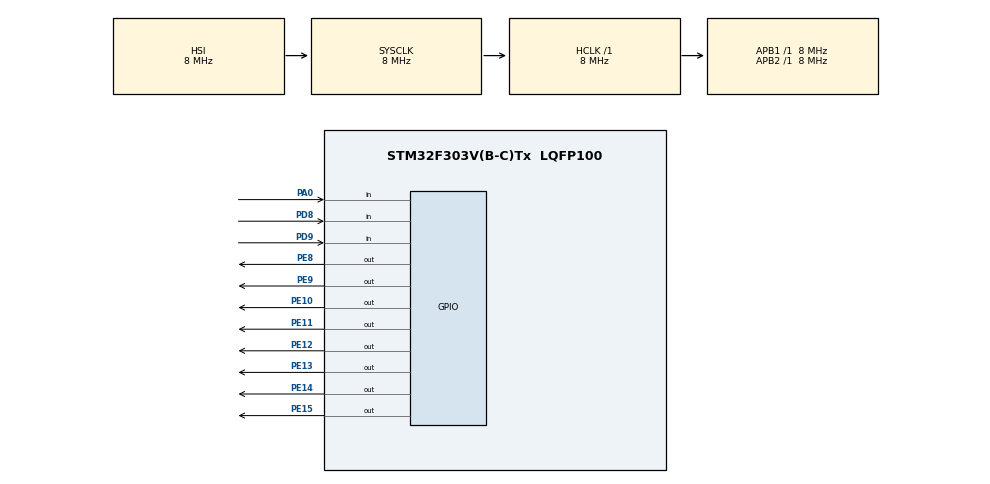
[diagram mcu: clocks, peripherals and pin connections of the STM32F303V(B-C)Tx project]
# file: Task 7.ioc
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Mcu.Family=STM32F3
Mcu.Name=STM32F303V(B-C)Tx
Mcu.Package=LQFP100
NVIC.PriorityGroup=NVIC_PRIORITYGROUP_4
PA0.Signal=GPIO_Input
PD8.GPIO_PuPd=GPIO_PULLDOWN
PD8.Signal=GPIO_Input
PD9.GPIO_PuPd=GPIO_PULLDOWN
PD9.Signal=GPIO_Input
PE10.Signal=GPIO_Output
PE11.Signal=GPIO_Output
PE12.Signal=GPIO_Output
PE13.Signal=GPIO_Output
PE14.Signal=GPIO_Output
PE15.Signal=GPIO_Output
PE8.Signal=GPIO_Output
PE9.Signal=GPIO_Output
ProjectManager.HeapSize=0x200
ProjectManager.StackSize=0x400
ProjectManager.TargetToolchain=MDK-ARM V5.27
RCC.AHBFreq_Value=8000000
RCC.APB1Freq_Value=8000000
RCC.APB2Freq_Value=8000000
RCC.CortexFreq_Value=8000000
RCC.HSE_VALUE=8000000
RCC.HSI_VALUE=8000000
RCC.LSE_VALUE=32768
RCC.SYSCLKFreq_VALUE=8000000
board=custom

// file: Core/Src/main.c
/* USER CODE BEGIN Header */
/**
  ******************************************************************************
  * @file           : main.c
  * @brief          : Main program body
  ******************************************************************************
  * @attention
  *
  * <h2><center>&copy; Copyright (c) 2023 STMicroelectronics.
  * All rights reserved.</center></h2>
  *
  * This software component is licensed by ST under BSD 3-Clause license,
  * the "License"; You may not use this file except in compliance with the
  * License. You may obtain a copy of the License at:
  *                        opensource.org/licenses/BSD-3-Clause
  *
  ******************************************************************************
  */
/* USER CODE END Header */
#include "main.h"

void SystemClock_Config(void);
static void MX_GPIO_Init(void);
/* USER CODE BEGIN PFP */
void circular(int);
void compass();
void speed();
void toggle(int);
void binary();

/* USER CODE END PFP */

int main(void)
{
  /* USER CODE BEGIN 1 */
	int	 i=0x0100U;
	int counter=-1;

  /* USER CODE END 1 */

  /* MCU Configuration--------------------------------------------------------*/

  /* Reset of all peripherals, Initializes the Flash interface and the Systick. */
  HAL_Init();

  /* Configure the system clock */
  SystemClock_Config();

  /* Initialize all configured peripherals */
  MX_GPIO_Init();

  /* Infinite loop */
  /* USER CODE BEGIN WHILE */
  while (1)
  {
		if(HAL_GPIO_ReadPin(GPIOD,GPIO_PIN_8)==GPIO_PIN_SET){
		circular(100);
		}

		if(HAL_GPIO_ReadPin(GPIOD,GPIO_PIN_9)==GPIO_PIN_SET){
		compass(100);
			HAL_Delay(100);
		}

		/* ONE BY ONE
		if(HAL_GPIO_ReadPin(GPIOA,GPIO_PIN_0)==GPIO_PIN_SET){

		toggle(i);
			HAL_Delay(100);
			i*=2;

		}

		if(i>0x8000U){
				i=0x0100U;

			}

		*/

		/* SPEED UP
		if(HAL_GPIO_ReadPin(GPIOA,GPIO_PIN_0)==GPIO_PIN_SET){

			i+=10;
			circular(100-i);

		}
		*/

			if(HAL_GPIO_ReadPin(GPIOA,GPIO_PIN_0)==GPIO_PIN_SET){
				counter++;
				if(counter>0){
					HAL_GPIO_TogglePin(GPIOE,GPIO_PIN_11);

					if(counter%2==0){
						HAL_GPIO_TogglePin(GPIOE,GPIO_PIN_10);
					}

					if(counter%4==0){
						HAL_GPIO_TogglePin(GPIOE,GPIO_PIN_9);

					}

					if(counter%8==0){

				HAL_GPIO_TogglePin(GPIOE,GPIO_PIN_8);

					}

				}

				HAL_Delay(400);
			}

    /* USER CODE END WHILE */

  }
}

void SystemClock_Config(void)
{
  RCC_OscInitTypeDef RCC_OscInitStruct = {0};
  RCC_ClkInitTypeDef RCC_ClkInitStruct = {0};

  /** Initializes the RCC Oscillators according to the specified parameters
  * in the RCC_OscInitTypeDef structure.
  */
  RCC_OscInitStruct.OscillatorType = RCC_OSCILLATORTYPE_HSI;
  RCC_OscInitStruct.HSIState = RCC_HSI_ON;
  RCC_OscInitStruct.HSICalibrationValue = RCC_HSICALIBRATION_DEFAULT;
  RCC_OscInitStruct.PLL.PLLState = RCC_PLL_NONE;
  if (HAL_RCC_OscConfig(&RCC_OscInitStruct) != HAL_OK)
  {
    Error_Handler();
  }
  /** Initializes the CPU, AHB and APB buses clocks
  */
  RCC_ClkInitStruct.ClockType = RCC_CLOCKTYPE_HCLK|RCC_CLOCKTYPE_SYSCLK
                              |RCC_CLOCKTYPE_PCLK1|RCC_CLOCKTYPE_PCLK2;
  RCC_ClkInitStruct.SYSCLKSource = RCC_SYSCLKSOURCE_HSI;
  RCC_ClkInitStruct.AHBCLKDivider = RCC_SYSCLK_DIV1;
  RCC_ClkInitStruct.APB1CLKDivider = RCC_HCLK_DIV1;
  RCC_ClkInitStruct.APB2CLKDivider = RCC_HCLK_DIV1;

  if (HAL_RCC_ClockConfig(&RCC_ClkInitStruct, FLASH_LATENCY_0) != HAL_OK)
  {
    Error_Handler();
  }
}

static void MX_GPIO_Init(void)
{
  GPIO_InitTypeDef GPIO_InitStruct = {0};

  /* GPIO Ports Clock Enable */
  __HAL_RCC_GPIOA_CLK_ENABLE();
  __HAL_RCC_GPIOE_CLK_ENABLE();
  __HAL_RCC_GPIOD_CLK_ENABLE();

  /*Configure GPIO pin Output Level */
  HAL_GPIO_WritePin(GPIOE, GPIO_PIN_8|GPIO_PIN_9|GPIO_PIN_10|GPIO_PIN_11
                          |GPIO_PIN_12|GPIO_PIN_13|GPIO_PIN_14|GPIO_PIN_15, GPIO_PIN_RESET);

  /*Configure GPIO pin : PA0 */
  GPIO_InitStruct.Pin = GPIO_PIN_0;
  GPIO_InitStruct.Mode = GPIO_MODE_INPUT;
  GPIO_InitStruct.Pull = GPIO_NOPULL;
  HAL_GPIO_Init(GPIOA, &GPIO_InitStruct);

  /*Configure GPIO pins : PE8 PE9 PE10 PE11
                           PE12 PE13 PE14 PE15 */
  GPIO_InitStruct.Pin = GPIO_PIN_8|GPIO_PIN_9|GPIO_PIN_10|GPIO_PIN_11
                          |GPIO_PIN_12|GPIO_PIN_13|GPIO_PIN_14|GPIO_PIN_15;
  GPIO_InitStruct.Mode = GPIO_MODE_OUTPUT_PP;
  GPIO_InitStruct.Pull = GPIO_NOPULL;
  GPIO_InitStruct.Speed = GPIO_SPEED_FREQ_LOW;
  HAL_GPIO_Init(GPIOE, &GPIO_InitStruct);

  /*Configure GPIO pins : PD8 PD9 */
  GPIO_InitStruct.Pin = GPIO_PIN_8|GPIO_PIN_9;
  GPIO_InitStruct.Mode = GPIO_MODE_INPUT;
  GPIO_InitStruct.Pull = GPIO_PULLDOWN;
  HAL_GPIO_Init(GPIOD, &GPIO_InitStruct);

}

/* USER CODE BEGIN 4 */

void circular(int a){
	int i;
	for( i=0x0100U; i<=0x8000U; i*=2){
		HAL_GPIO_TogglePin(GPIOE,i);
		HAL_Delay(a);
	}

	}

	void compass(){
	int i;
	for( i=0x0200U; i<=0x8000U; i*=4){
		HAL_GPIO_TogglePin(GPIOE,i);

	}

	}

	void toggle(int i){

		if(!(i>0x8000U)){
		HAL_GPIO_TogglePin(GPIOE,i);
			HAL_Delay(100);
		}
	}

/* USER CODE END 4 */

void Error_Handler(void)
{
  __disable_irq();
  while (1)
  {
  }
}

/************************ (C) COPYRIGHT STMicroelectronics *****END OF FILE****/
